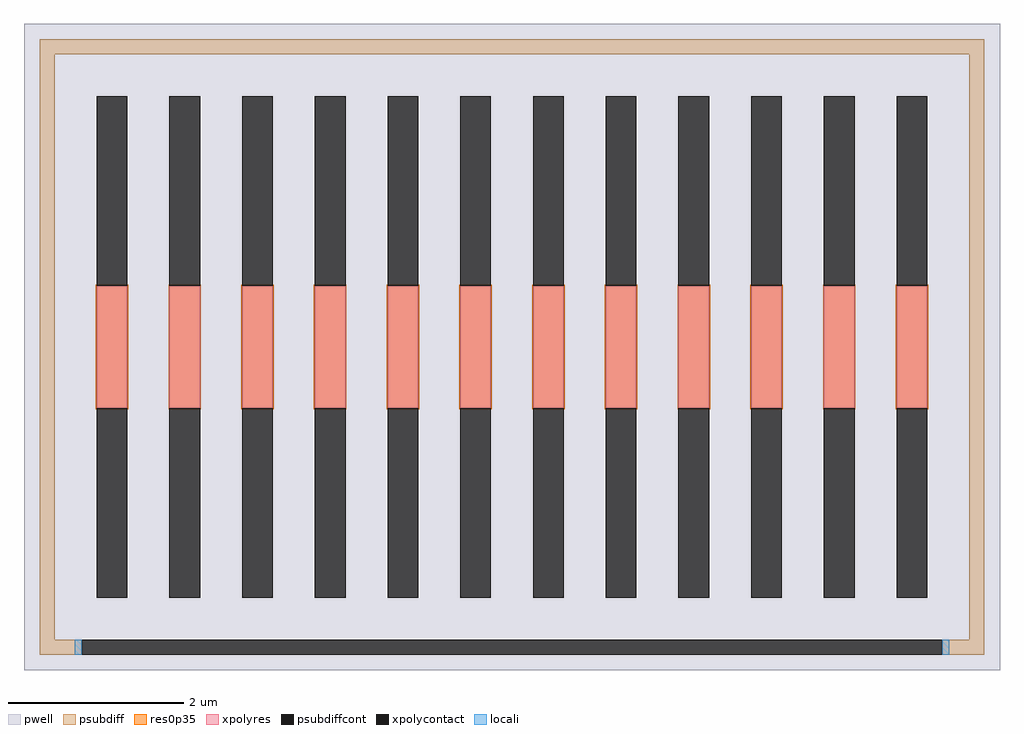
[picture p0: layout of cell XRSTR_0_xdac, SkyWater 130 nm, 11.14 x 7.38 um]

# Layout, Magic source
magic
tech sky130A
<< pwell >>
rect -557 -369 557 369
<< psubdiff >>
rect -539 334 539 351
rect -539 -334 -522 334
rect 522 -334 539 334
rect -539 -351 -491 -334
rect 491 -351 539 -334
<< psubdiffcont >>
rect -491 -351 491 -334
<< xpolycontact >>
rect -474 70 -439 286
rect -474 -286 -439 -70
rect -391 70 -356 286
rect -391 -286 -356 -70
rect -308 70 -273 286
rect -308 -286 -273 -70
rect -225 70 -190 286
rect -225 -286 -190 -70
rect -142 70 -107 286
rect -142 -286 -107 -70
rect -59 70 -24 286
rect -59 -286 -24 -70
rect 24 70 59 286
rect 24 -286 59 -70
rect 107 70 142 286
rect 107 -286 142 -70
rect 190 70 225 286
rect 190 -286 225 -70
rect 273 70 308 286
rect 273 -286 308 -70
rect 356 70 391 286
rect 356 -286 391 -70
rect 439 70 474 286
rect 439 -286 474 -70
<< xpolyres >>
rect -474 -70 -439 70
rect -391 -70 -356 70
rect -308 -70 -273 70
rect -225 -70 -190 70
rect -142 -70 -107 70
rect -59 -70 -24 70
rect 24 -70 59 70
rect 107 -70 142 70
rect 190 -70 225 70
rect 273 -70 308 70
rect 356 -70 391 70
rect 439 -70 474 70
<< locali >>
rect -499 -351 -491 -334
rect 491 -351 499 -334
<< res0p35 >>
rect -475 -71 -438 71
rect -392 -71 -355 71
rect -309 -71 -272 71
rect -226 -71 -189 71
rect -143 -71 -106 71
rect -60 -71 -23 71
rect 23 -71 60 71
rect 106 -71 143 71
rect 189 -71 226 71
rect 272 -71 309 71
rect 355 -71 392 71
rect 438 -71 475 71
<< properties >>
string FIXED_BBOX -530 -342 530 342
<< end >>
